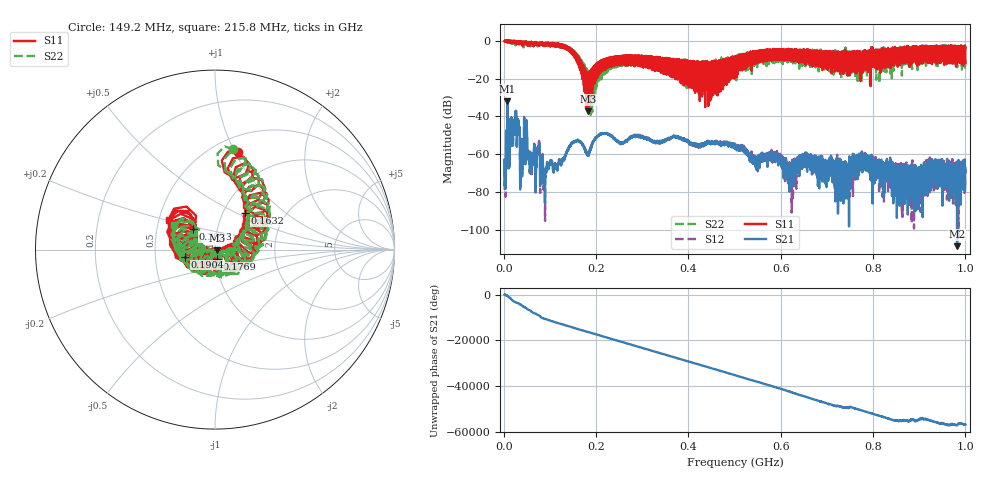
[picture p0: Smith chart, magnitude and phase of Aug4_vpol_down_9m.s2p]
!Keysight Technologies N9923A: A.12.45
!Date: Tuesday, 05 August 2025 20:28:47
!Timezone: (UTC+08:00) Kuala Lumpur, Singapore
!Model: N9923A
!Serial: MY61181427
!GPS Latitude:
!GPS Longitude:
!GPS TimeStamp: 0001-01-01 00:00:00Z
!GPS Seconds Since Last Read: 0
!CHECKSUM:0200465580
!Correction: S11(ON U)S21(ON U)S12(ON U)S22(ON U)
!S2P File: Measurements:S11,S21,S12,S22:
# Hz S DB R 50
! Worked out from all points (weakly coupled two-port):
!   4001 points, 2 MHz to 1 GHz, reference 50 ohm
!   highest |S21| = -32.05 dB at 7.988 MHz (marker M1); lowest = -108.5 dB at 982 MHz (marker M2)
!   lowest |S11| = -37.3 dB at 183.1 MHz (marker M3), VSWR 1.03, Z = 51.3 - j0.374 ohm
!   |S11| at or under -10 dB: 164.4 MHz to 215.5 MHz (51.09 MHz wide, 26.9 % of centre); 380.3 MHz to 391.9 MHz (11.66 MHz wide, 3.02 % of centre); 392 MHz to 475.5 MHz (83.53 MHz wide, 19.3 % of centre)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
!   |S22| runs from -39.2 to 0.1 dB; largest |S21 - S12| = 0.0012
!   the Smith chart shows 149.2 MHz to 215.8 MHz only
!   S11 on the Smith chart (normalised r, x): 149.2 MHz: 0.65, +1.03; 163.2 MHz: 1.27, +0.55; 176.9 MHz: 1.01, -0.10; 190.4 MHz: 0.71, -0.06; 203.3 MHz: 0.76, +0.18; 215.8 MHz: 0.56, +0.21
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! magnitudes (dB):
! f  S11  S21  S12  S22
! 2 MHz  -0.1  -76.5  -78.7  -0.1
! 7.988 MHz  -0.3  -32.0  -32.1  -0.7
! 29.94 MHz  -1.4  -41.9  -42.1  -0.4
! 38.68 MHz  -0.4  -56.3  -56.2  -0.4
! 46.91 MHz  -0.4  -59.2  -58.6  -0.4
! 56.64 MHz  -2.3  -69.1  -70.0  -1.5
! 87.58 MHz  -1.6  -74.1  -72.3  -1.6
! 149.2 MHz  -5.0  -54.1  -54.1  -4.9
! 163.2 MHz  -11.6  -52.9  -52.9  -9.7
! 168.4 MHz  -17.6  -54.1  -54.2  -14.3
! 176.9 MHz  -25.8  -58.4  -58.6  -23.7
! 183.1 MHz  -37.3  -60.0  -59.6  -20.1
! 190.4 MHz  -15.3  -56.0  -55.2  -19.4
! 203.3 MHz  -15.5  -50.5  -50.0  -21.6
! 215.8 MHz  -10.2  -49.2  -48.9  -11.5
! 334.8 MHz  -8.9  -53.2  -53.6  -10.5
! 501 MHz  -8.6  -57.0  -55.3  -9.2
! 619 MHz  -7.1  -68.0  -64.1  -4.6
! 667.4 MHz  -5.4  -61.4  -62.4  -7.4
! 833.8 MHz  -6.2  -71.1  -66.5  -13.6
! 982 MHz  -3.9  -108.5  -66.3  -11.3
! 1 GHz  -11.8  -68.7  -69.1  -3.9
